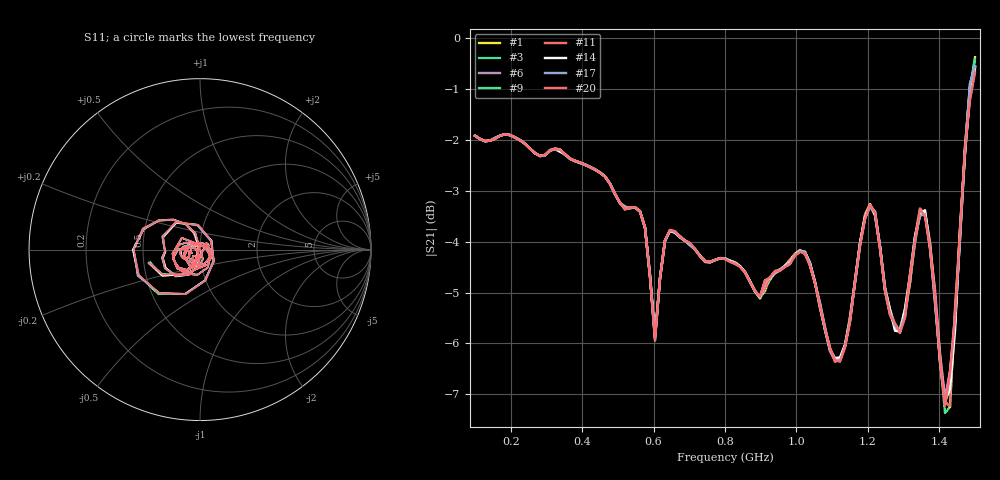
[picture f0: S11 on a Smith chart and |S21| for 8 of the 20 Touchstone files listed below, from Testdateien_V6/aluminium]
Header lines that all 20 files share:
! NanoVNA-App
! Start: 100MHz Stop: 1,5GHz Points: 101
! S-Parameter data: F S11 S21 S12 S22
# Hz S RI R 50
!  Frequency  S11_Real  S11_Imag  S21_Real  S21_Imag  S12_Real  S12_Imag  S22_Real  S22_Imag
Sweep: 100 MHz to 1.5 GHz
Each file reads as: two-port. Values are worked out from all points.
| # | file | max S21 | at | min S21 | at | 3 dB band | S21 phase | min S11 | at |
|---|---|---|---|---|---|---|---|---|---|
| 1 | aluminium (103).s2p | -0.37 dB | 1.5 GHz | -7.2 dB | 1.416 GHz | 100 MHz-548 MHz | 126 deg at 800 MHz | -37.9 dB | 674 MHz |
| 2 | aluminium (104).s2p | -0.70 dB | 1.5 GHz | -7.2 dB | 1.416 GHz | 100 MHz-562 MHz | 126 deg at 800 MHz | -37.8 dB | 870 MHz |
| 3 | aluminium (105).s2p | -0.42 dB | 1.5 GHz | -7.1 dB | 1.416 GHz | 100 MHz-562 MHz | 126 deg at 800 MHz | -37.6 dB | 674 MHz |
| 4 | aluminium (106).s2p | -0.41 dB | 1.5 GHz | -7.2 dB | 1.416 GHz | 100 MHz-562 MHz | 126 deg at 800 MHz | -38.8 dB | 1.444 GHz |
| 5 | aluminium (107).s2p | -0.64 dB | 1.5 GHz | -7.1 dB | 1.416 GHz | 100 MHz-562 MHz | 126 deg at 800 MHz | -37.8 dB | 870 MHz |
| 6 | aluminium (108).s2p | -0.56 dB | 1.5 GHz | -7.1 dB | 1.416 GHz | 100 MHz-562 MHz | 126 deg at 800 MHz | -37.7 dB | 1.444 GHz |
| 7 | aluminium (109).s2p | -0.56 dB | 1.5 GHz | -7.3 dB | 1.416 GHz | 100 MHz-562 MHz | 126 deg at 800 MHz | -37.5 dB | 674 MHz |
| 8 | aluminium (110).s2p | -0.52 dB | 1.5 GHz | -7.2 dB | 1.416 GHz | 100 MHz-562 MHz | 126 deg at 800 MHz | -38.2 dB | 674 MHz |
| 9 | aluminium (111).s2p | -0.61 dB | 1.5 GHz | -7.4 dB | 1.416 GHz | 100 MHz-562 MHz | 126 deg at 800 MHz | -37.7 dB | 870 MHz |
| 10 | aluminium (112).s2p | -0.46 dB | 1.5 GHz | -7.0 dB | 1.416 GHz | 100 MHz-562 MHz | 126 deg at 800 MHz | -37.7 dB | 674 MHz |
| 11 | aluminium (113).s2p | -0.59 dB | 1.5 GHz | -7.2 dB | 1.43 GHz | 100 MHz-562 MHz | 126 deg at 800 MHz | -37.5 dB | 674 MHz |
| 12 | aluminium (114).s2p | -0.40 dB | 1.5 GHz | -7.1 dB | 1.416 GHz | 100 MHz-548 MHz | 126 deg at 800 MHz | -37.7 dB | 870 MHz |
| 13 | aluminium (115).s2p | -0.69 dB | 1.5 GHz | -7.2 dB | 1.416 GHz | 100 MHz-562 MHz | 126 deg at 800 MHz | -37.8 dB | 674 MHz |
| 14 | aluminium (116).s2p | -0.57 dB | 1.5 GHz | -7.1 dB | 1.416 GHz | 100 MHz-562 MHz | 126 deg at 800 MHz | -38.3 dB | 674 MHz |
| 15 | aluminium (117).s2p | -0.60 dB | 1.5 GHz | -7.3 dB | 1.416 GHz | 100 MHz-562 MHz | 126 deg at 800 MHz | -38.4 dB | 674 MHz |
| 16 | aluminium (118).s2p | -0.58 dB | 1.5 GHz | -7.1 dB | 1.416 GHz | 100 MHz-562 MHz | 126 deg at 800 MHz | -37.8 dB | 674 MHz |
| 17 | aluminium (119).s2p | -0.55 dB | 1.5 GHz | -7.2 dB | 1.416 GHz | 100 MHz-562 MHz | 126 deg at 800 MHz | -38.1 dB | 674 MHz |
| 18 | aluminium (120).s2p | -0.61 dB | 1.5 GHz | -7.2 dB | 1.416 GHz | 100 MHz-562 MHz | 126 deg at 800 MHz | -38.2 dB | 674 MHz |
| 19 | aluminium (121).s2p | -0.73 dB | 1.5 GHz | -7.2 dB | 1.416 GHz | 100 MHz-576 MHz | 126 deg at 800 MHz | -40.3 dB | 1.444 GHz |
| 20 | aluminium (122).s2p | -0.67 dB | 1.5 GHz | -7.2 dB | 1.416 GHz | 100 MHz-562 MHz | 126 deg at 800 MHz | -38.5 dB | 674 MHz |
